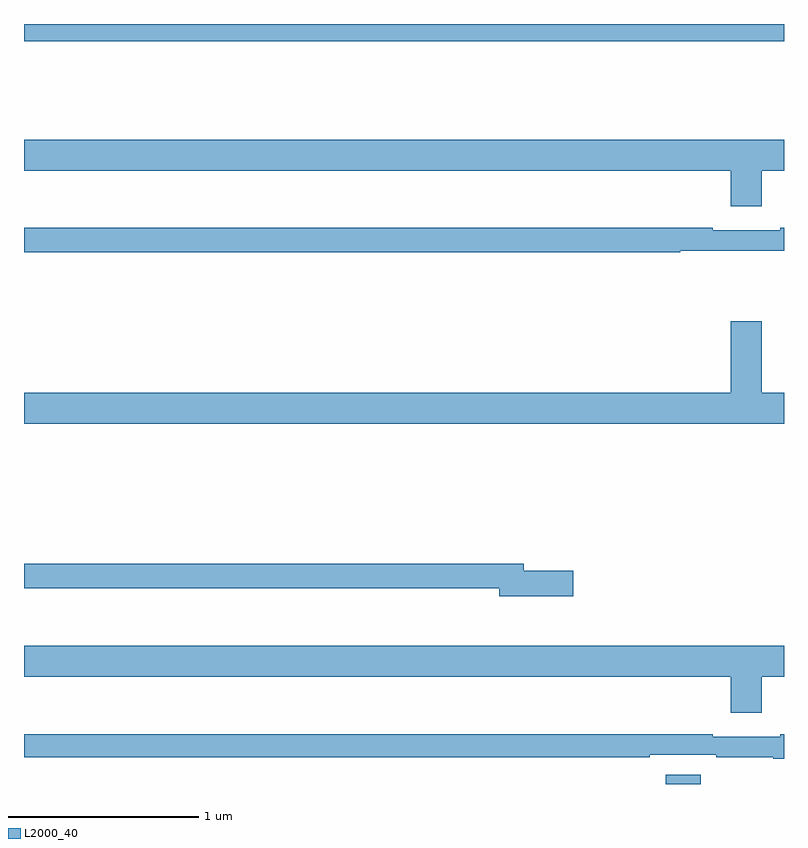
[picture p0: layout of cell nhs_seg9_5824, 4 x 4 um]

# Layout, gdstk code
import gdstk
lib = gdstk.Library(unit=1e-6, precision=1e-09)
def R(c, l, rs):  # rectangles x0, y0, x1, y1
    for r in rs: c.add(gdstk.rectangle(r[:2], r[2:], *l))
def P(c, l, *ps):  # polygons
    for p in ps: c.add(gdstk.Polygon(p, *l))
L2000_40 = (2000, 40)

nhs_seg9_5824 = lib.new_cell('nhs_seg9_5824')
R(nhs_seg9_5824, L2000_40, [(452.378,1218.5,452.561,1218.55), (449,1222.408,453,1222.5)])
P(nhs_seg9_5824, L2000_40, [(452.884,1221.728),(453,1221.728),(453,1221.892),(449,1221.892),(449,1221.728),(452.72,1221.728),(452.72,1221.54),(452.884,1221.54)],
  [(452.455,1221.306),(453,1221.306),(453,1221.427),(452.98,1221.427),(452.98,1221.414),(452.624,1221.414),(452.624,1221.427),(449,1221.427),(449,1221.298),(452.455,1221.298)],
  [(453,1220.56),(452.884,1220.56),(452.884,1220.935),(452.72,1220.935),(452.72,1220.56),(449,1220.56),(449,1220.396),(453,1220.396)],
  [(451.891,1219.622),(451.63,1219.622),(451.63,1219.658),(449,1219.658),(449,1219.53),(451.502,1219.53),(451.502,1219.487),(451.891,1219.487)],
  [(452.884,1219.064),(453,1219.064),(453,1219.228),(449,1219.228),(449,1219.064),(452.72,1219.064),(452.72,1218.876),(452.884,1218.876)],
  [(453,1218.763),(452.98,1218.763),(452.98,1218.75),(452.624,1218.75),(452.624,1218.763),(449,1218.763),(449,1218.642),(452.294,1218.642),(452.294,1218.654),(452.644,1218.654),(452.644,1218.642),(452.944,1218.642),(452.944,1218.634),(453,1218.634)])

lib.write_gds('nhs_seg9_5824.gds')
